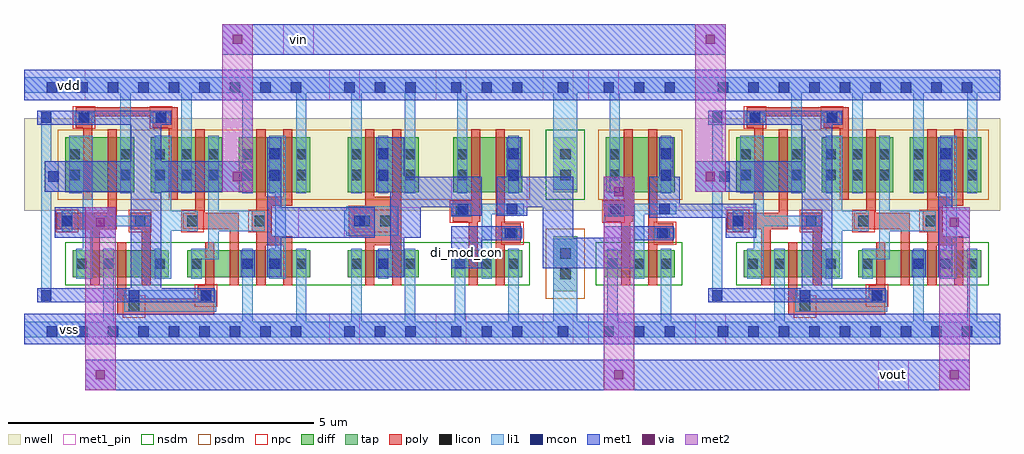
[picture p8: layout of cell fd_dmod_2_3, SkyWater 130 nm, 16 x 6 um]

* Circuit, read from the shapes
.subckt fd_dmod_2_3 di_mod_con vdd vin vout vss
XM1 vss vout sc_dff_4/sky130_fd_pr__nfet_01v8_sc_dff_m3_8/D vss sky130_fd_pr__nfet_01v8 w=0.45 l=0.15
XM2 sc_dff_4/sky130_fd_pr__nfet_01v8_sc_dff_m6_5/D vin vss vss sky130_fd_pr__nfet_01v8 w=0.45 l=0.15
XM3 sc_dff_4/sky130_fd_pr__nfet_01v8_sc_dff_m5_6/D sc_dff_4/sky130_fd_pr__nfet_01v8_sc_dff_m3_8/D sc_dff_4/sky130_fd_pr__nfet_01v8_sc_dff_m6_5/D vss sky130_fd_pr__nfet_01v8 w=0.45 l=0.15
XM4 sc_dff_4/sky130_fd_pr__nfet_01v8_sc_dff_m9_2/D vin sc_dff_4/sky130_fd_pr__nfet_01v8_sc_dff_m8_3/D vss sky130_fd_pr__nfet_01v8 w=0.45 l=0.15
XM5 vss sc_dff_4/sky130_fd_pr__nfet_01v8_sc_dff_m5_6/D sc_dff_4/sky130_fd_pr__nfet_01v8_sc_dff_m9_2/D vss sky130_fd_pr__nfet_01v8 w=0.45 l=0.15
XM6 sc_dff_4/q sc_dff_4/sky130_fd_pr__nfet_01v8_sc_dff_m8_3/D vss vss sky130_fd_pr__nfet_01v8 w=0.45 l=0.15 m=2
XM7 sc_nor2_2/a sc_dff_4/q vss vss sky130_fd_pr__nfet_01v8 w=0.45 l=0.15 m=2
XM8 sc_nor2_1/b sc_nor2_2/a vss vss sky130_fd_pr__nfet_01v8 w=0.45 l=0.15
XM9 vss di_mod_con sc_nor2_1/b vss sky130_fd_pr__nfet_01v8 w=0.45 l=0.15
XM10 sc_dff_0/d vout vss vss sky130_fd_pr__nfet_01v8 w=0.45 l=0.15
XM11 vss sc_nor2_1/b sc_dff_0/d vss sky130_fd_pr__nfet_01v8 w=0.45 l=0.15
XM12 vss sc_dff_0/d sc_dff_0/sky130_fd_pr__nfet_01v8_sc_dff_m3_8/D vss sky130_fd_pr__nfet_01v8 w=0.45 l=0.15
XM13 sc_dff_0/sky130_fd_pr__nfet_01v8_sc_dff_m6_5/D vin vss vss sky130_fd_pr__nfet_01v8 w=0.45 l=0.15
XM14 sc_dff_0/sky130_fd_pr__nfet_01v8_sc_dff_m5_6/D sc_dff_0/sky130_fd_pr__nfet_01v8_sc_dff_m3_8/D sc_dff_0/sky130_fd_pr__nfet_01v8_sc_dff_m6_5/D vss sky130_fd_pr__nfet_01v8 w=0.45 l=0.15
XM15 sc_dff_0/sky130_fd_pr__nfet_01v8_sc_dff_m9_2/D vin sc_dff_0/sky130_fd_pr__nfet_01v8_sc_dff_m8_3/D vss sky130_fd_pr__nfet_01v8 w=0.45 l=0.15
XM16 vss sc_dff_0/sky130_fd_pr__nfet_01v8_sc_dff_m5_6/D sc_dff_0/sky130_fd_pr__nfet_01v8_sc_dff_m9_2/D vss sky130_fd_pr__nfet_01v8 w=0.45 l=0.15
XM17 vout sc_dff_0/sky130_fd_pr__nfet_01v8_sc_dff_m8_3/D vss vss sky130_fd_pr__nfet_01v8 w=0.45 l=0.15 m=2
XM18 sc_dff_4/sky130_fd_pr__pfet_01v8_sc_dff_m1_10/D vin sc_dff_4/sky130_fd_pr__nfet_01v8_sc_dff_m3_8/D vdd sky130_fd_pr__pfet_01v8 w=0.9 l=0.15
XM19 vdd vout sc_dff_4/sky130_fd_pr__pfet_01v8_sc_dff_m1_10/D vdd sky130_fd_pr__pfet_01v8 w=0.9 l=0.15
XM20 vdd vin sc_dff_4/sky130_fd_pr__nfet_01v8_sc_dff_m5_6/D vdd sky130_fd_pr__pfet_01v8 w=0.9 l=0.15
XM21 sc_dff_4/sky130_fd_pr__nfet_01v8_sc_dff_m8_3/D sc_dff_4/sky130_fd_pr__nfet_01v8_sc_dff_m5_6/D vdd vdd sky130_fd_pr__pfet_01v8 w=0.9 l=0.15
XM22 sc_dff_4/q sc_dff_4/sky130_fd_pr__nfet_01v8_sc_dff_m8_3/D vdd vdd sky130_fd_pr__pfet_01v8 w=0.9 l=0.15 m=2
XM23 sc_nor2_2/a sc_dff_4/q vdd vdd sky130_fd_pr__pfet_01v8 w=0.9 l=0.15 m=2
XM24 sc_nor2_2/sky130_fd_pr__pfet_01v8_sc_nor2_m1_3/D sc_nor2_2/a vdd vdd sky130_fd_pr__pfet_01v8 w=0.9 l=0.15
XM25 sc_nor2_1/b di_mod_con sc_nor2_2/sky130_fd_pr__pfet_01v8_sc_nor2_m1_3/D vdd sky130_fd_pr__pfet_01v8 w=0.9 l=0.15
XM26 sc_nor2_1/sky130_fd_pr__pfet_01v8_sc_nor2_m1_3/D vout vdd vdd sky130_fd_pr__pfet_01v8 w=0.9 l=0.15
XM27 sc_dff_0/d sc_nor2_1/b sc_nor2_1/sky130_fd_pr__pfet_01v8_sc_nor2_m1_3/D vdd sky130_fd_pr__pfet_01v8 w=0.9 l=0.15
XM28 sc_dff_0/sky130_fd_pr__pfet_01v8_sc_dff_m1_10/D vin sc_dff_0/sky130_fd_pr__nfet_01v8_sc_dff_m3_8/D vdd sky130_fd_pr__pfet_01v8 w=0.9 l=0.15
XM29 vdd sc_dff_0/d sc_dff_0/sky130_fd_pr__pfet_01v8_sc_dff_m1_10/D vdd sky130_fd_pr__pfet_01v8 w=0.9 l=0.15
XM30 vdd vin sc_dff_0/sky130_fd_pr__nfet_01v8_sc_dff_m5_6/D vdd sky130_fd_pr__pfet_01v8 w=0.9 l=0.15
XM31 sc_dff_0/sky130_fd_pr__nfet_01v8_sc_dff_m8_3/D sc_dff_0/sky130_fd_pr__nfet_01v8_sc_dff_m5_6/D vdd vdd sky130_fd_pr__pfet_01v8 w=0.9 l=0.15
XM32 vout sc_dff_0/sky130_fd_pr__nfet_01v8_sc_dff_m8_3/D vdd vdd sky130_fd_pr__pfet_01v8 w=0.9 l=0.15 m=2
.ends

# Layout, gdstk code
from math import pi, radians
import gdstk
lib = gdstk.Library(unit=1e-6, precision=1e-09)
def R(c, l, rs):  # rectangles x0, y0, x1, y1
    for r in rs: c.add(gdstk.rectangle(r[:2], r[2:], *l))
def A(c, l, x, y, w, h, nx, ny, dx, dy):  # array of equal rectangles
    R(c, l, [(x+i*dx, y+j*dy, x+i*dx+w, y+j*dy+h) for i in range(nx) for j in range(ny)])
nwell = (64, 20)
diff = (65, 20)
tap = (65, 44)
poly = (66, 20)
licon = (66, 44)
li1 = (67, 20)
mcon = (67, 44)
met1_pin = (68, 16)
met1 = (68, 20)
via = (68, 44)
met2 = (69, 20)
nsdm = (93, 44)
psdm = (94, 20)
npc = (95, 20)

sky130_fd_pr__nfet_01v8_ = lib.new_cell('sky130_fd_pr__nfet_01v8_scc_inv_m2')
R(sky130_fd_pr__nfet_01v8_, diff, [(7.265,-4.22,8.435,-3.77)])
R(sky130_fd_pr__nfet_01v8_, poly, [(7.555,-4.35,7.705,-3.695), (7.995,-4.35,8.145,-3.695), (7.555,-3.695,8.145,-3.545)])
A(sky130_fd_pr__nfet_01v8_, licon, 7.325, -4.08, 0.17, 0.17, 3, 1, 0.44, 0)
A(sky130_fd_pr__nfet_01v8_, li1, 7.325, -4.24, 0.17, 0.49, 3, 1, 0.44, 0)
R(sky130_fd_pr__nfet_01v8_, mcon, [(7.765,-4.08,7.935,-3.91)])
R(sky130_fd_pr__nfet_01v8_, met1, [(7.735,-4.22,7.965,-3.77)])
R(sky130_fd_pr__nfet_01v8_, nsdm, [(7.14,-4.345,8.56,-3.645)])
sky130_fd_pr__nfet_01v8_.add(gdstk.Label('D0', (7.85,-3.995), layer=67, texttype=5))
sky130_fd_pr__nfet_01v8_.add(gdstk.Label('S0', (7.41,-3.995), layer=67, texttype=5))
sky130_fd_pr__nfet_01v8_.add(gdstk.Label('D1', (7.85,-3.995), layer=67, texttype=5))
sky130_fd_pr__nfet_01v8_.add(gdstk.Label('S1', (8.29,-3.995), layer=67, texttype=5))

sky130_fd_pr__pfet_01v8_ = lib.new_cell('sky130_fd_pr__pfet_01v8_scc_inv_m1')
R(sky130_fd_pr__pfet_01v8_, nwell, [(6.85,-4.65,8.38,-3.13)])
R(sky130_fd_pr__pfet_01v8_, diff, [(7.03,-4.34,8.2,-3.44)])
R(sky130_fd_pr__pfet_01v8_, poly, [(7.32,-4.565,7.91,-4.415), (7.32,-4.415,7.47,-3.31), (7.76,-4.415,7.91,-3.31)])
A(sky130_fd_pr__pfet_01v8_, licon, 7.09, -4.145, 0.17, 0.17, 3, 2, 0.44, 0.34)
A(sky130_fd_pr__pfet_01v8_, li1, 7.09, -4.36, 0.17, 0.94, 3, 1, 0.44, 0)
R(sky130_fd_pr__pfet_01v8_, mcon, [(7.53,-4.155,7.7,-3.985), (7.53,-3.795,7.7,-3.625)])
R(sky130_fd_pr__pfet_01v8_, met1, [(7.5,-4.34,7.73,-3.44)])
R(sky130_fd_pr__pfet_01v8_, psdm, [(6.905,-4.465,8.325,-3.315)])
sky130_fd_pr__pfet_01v8_.add(gdstk.Label('D0', (7.615,-3.89), layer=67, texttype=5))
sky130_fd_pr__pfet_01v8_.add(gdstk.Label('S0', (7.175,-3.89), layer=67, texttype=5))
sky130_fd_pr__pfet_01v8_.add(gdstk.Label('D1', (7.615,-3.89), layer=67, texttype=5))
sky130_fd_pr__pfet_01v8_.add(gdstk.Label('S1', (8.055,-3.89), layer=67, texttype=5))

c_sky130_fd_pr__nfet_01v8_ = lib.new_cell('sky130_fd_pr__nfet_01v8_sc_dff_m9')
R(c_sky130_fd_pr__nfet_01v8_, diff, [(-0.325,-0.225,0.365,0.225)])
R(c_sky130_fd_pr__nfet_01v8_, poly, [(-0.075,-0.355,0.075,0.355)])
R(c_sky130_fd_pr__nfet_01v8_, licon, [(0.135,-0.085,0.305,0.085)])
R(c_sky130_fd_pr__nfet_01v8_, li1, [(0.135,-0.245,0.305,0.245)])
R(c_sky130_fd_pr__nfet_01v8_, mcon, [(0.135,-0.085,0.305,0.085)])
R(c_sky130_fd_pr__nfet_01v8_, met1, [(0.105,-0.225,0.335,0.225)])
R(c_sky130_fd_pr__nfet_01v8_, nsdm, [(-0.45,-0.35,0.49,0.35)])
c_sky130_fd_pr__nfet_01v8_.add(gdstk.Label('D', (-0.22,0), layer=65, texttype=6))
c_sky130_fd_pr__nfet_01v8_.add(gdstk.Label('S', (0.22,0), layer=67, texttype=5))

c_sky130_fd_pr__nfet_01v8__ = lib.new_cell('sky130_fd_pr__nfet_01v8_sc_dff_m8')
R(c_sky130_fd_pr__nfet_01v8__, diff, [(-0.365,-0.225,0.325,0.225)])
R(c_sky130_fd_pr__nfet_01v8__, poly, [(-0.075,-0.355,0.075,0.355)])
R(c_sky130_fd_pr__nfet_01v8__, licon, [(-0.305,-0.085,-0.135,0.085)])
R(c_sky130_fd_pr__nfet_01v8__, li1, [(-0.305,-0.245,-0.135,0.245)])
R(c_sky130_fd_pr__nfet_01v8__, nsdm, [(-0.49,-0.35,0.45,0.35)])
c_sky130_fd_pr__nfet_01v8__.add(gdstk.Label('D', (-0.22,0), layer=67, texttype=5))
c_sky130_fd_pr__nfet_01v8__.add(gdstk.Label('S', (0.22,0), layer=65, texttype=6))

c_sky130_fd_pr__pfet_01v8_ = lib.new_cell('sky130_fd_pr__pfet_01v8_sc_dff_m7')
R(c_sky130_fd_pr__pfet_01v8_, nwell, [(-0.545,-0.76,0.545,0.76)])
R(c_sky130_fd_pr__pfet_01v8_, diff, [(-0.365,-0.45,0.365,0.45)])
R(c_sky130_fd_pr__pfet_01v8_, poly, [(-0.075,-0.58,0.075,0.58)])
R(c_sky130_fd_pr__pfet_01v8_, licon, [(-0.305,-0.255,-0.135,-0.085), (0.135,-0.255,0.305,-0.085), (-0.305,0.085,-0.135,0.255), (0.135,0.085,0.305,0.255)])
R(c_sky130_fd_pr__pfet_01v8_, li1, [(-0.305,-0.47,-0.135,0.47), (0.135,-0.47,0.305,0.47)])
R(c_sky130_fd_pr__pfet_01v8_, psdm, [(-0.49,-0.575,0.49,0.575)])
c_sky130_fd_pr__pfet_01v8_.add(gdstk.Label('D', (-0.22,0), layer=67, texttype=5))
c_sky130_fd_pr__pfet_01v8_.add(gdstk.Label('S', (0.22,0), layer=67, texttype=5))

c_sky130_fd_pr__nfet_01v8___ = lib.new_cell('sky130_fd_pr__nfet_01v8_sc_dff_m6')
R(c_sky130_fd_pr__nfet_01v8___, diff, [(-0.325,-0.225,0.365,0.225)])
R(c_sky130_fd_pr__nfet_01v8___, poly, [(-0.075,-0.355,0.075,0.355)])
R(c_sky130_fd_pr__nfet_01v8___, licon, [(0.135,-0.085,0.305,0.085)])
R(c_sky130_fd_pr__nfet_01v8___, li1, [(0.135,-0.245,0.305,0.245)])
R(c_sky130_fd_pr__nfet_01v8___, nsdm, [(-0.45,-0.35,0.49,0.35)])
c_sky130_fd_pr__nfet_01v8___.add(gdstk.Label('D', (-0.22,0), layer=65, texttype=6))
c_sky130_fd_pr__nfet_01v8___.add(gdstk.Label('S', (0.22,0), layer=67, texttype=5))

c_sky130_fd_pr__nfet_01v8____ = lib.new_cell('sky130_fd_pr__nfet_01v8_sc_dff_m5')
R(c_sky130_fd_pr__nfet_01v8____, diff, [(-0.365,-0.225,0.325,0.225)])
R(c_sky130_fd_pr__nfet_01v8____, poly, [(-0.075,-0.355,0.075,0.355)])
R(c_sky130_fd_pr__nfet_01v8____, licon, [(-0.305,-0.085,-0.135,0.085)])
R(c_sky130_fd_pr__nfet_01v8____, li1, [(-0.305,-0.245,-0.135,0.245)])
R(c_sky130_fd_pr__nfet_01v8____, nsdm, [(-0.49,-0.35,0.45,0.35)])
c_sky130_fd_pr__nfet_01v8____.add(gdstk.Label('D', (-0.22,0), layer=67, texttype=5))
c_sky130_fd_pr__nfet_01v8____.add(gdstk.Label('S', (0.22,0), layer=65, texttype=6))

c_sky130_fd_pr__pfet_01v8__ = lib.new_cell('sky130_fd_pr__pfet_01v8_sc_dff_m4')
R(c_sky130_fd_pr__pfet_01v8__, nwell, [(-0.545,-0.76,0.545,0.76)])
R(c_sky130_fd_pr__pfet_01v8__, diff, [(-0.365,-0.45,0.365,0.45)])
R(c_sky130_fd_pr__pfet_01v8__, poly, [(-0.075,-0.58,0.075,0.58)])
R(c_sky130_fd_pr__pfet_01v8__, licon, [(-0.305,-0.255,-0.135,-0.085), (0.135,-0.255,0.305,-0.085), (-0.305,0.085,-0.135,0.255), (0.135,0.085,0.305,0.255)])
R(c_sky130_fd_pr__pfet_01v8__, li1, [(-0.305,-0.47,-0.135,0.47), (0.135,-0.47,0.305,0.47)])
R(c_sky130_fd_pr__pfet_01v8__, psdm, [(-0.49,-0.575,0.49,0.575)])
c_sky130_fd_pr__pfet_01v8__.add(gdstk.Label('D', (-0.22,0), layer=67, texttype=5))
c_sky130_fd_pr__pfet_01v8__.add(gdstk.Label('S', (0.22,0), layer=67, texttype=5))

c_sky130_fd_pr__nfet_01v8_____ = lib.new_cell('sky130_fd_pr__nfet_01v8_sc_dff_m3')
R(c_sky130_fd_pr__nfet_01v8_____, diff, [(4.75,-7.11,5.48,-6.66)])
R(c_sky130_fd_pr__nfet_01v8_____, poly, [(5.04,-7.24,5.19,-6.53)])
R(c_sky130_fd_pr__nfet_01v8_____, licon, [(4.81,-6.97,4.98,-6.8), (5.25,-6.97,5.42,-6.8)])
R(c_sky130_fd_pr__nfet_01v8_____, li1, [(4.81,-7.13,4.98,-6.64), (5.25,-7.13,5.42,-6.64)])
R(c_sky130_fd_pr__nfet_01v8_____, nsdm, [(4.625,-7.235,5.605,-6.535)])
c_sky130_fd_pr__nfet_01v8_____.add(gdstk.Label('D', (4.895,-6.885), layer=67, texttype=5))
c_sky130_fd_pr__nfet_01v8_____.add(gdstk.Label('S', (5.335,-6.885), layer=67, texttype=5))

c_sky130_fd_pr__pfet_01v8___ = lib.new_cell('sky130_fd_pr__pfet_01v8_sc_dff_m2')
R(c_sky130_fd_pr__pfet_01v8___, nwell, [(-0.545,-0.76,0.505,0.76)])
R(c_sky130_fd_pr__pfet_01v8___, diff, [(-0.365,-0.45,0.325,0.45)])
R(c_sky130_fd_pr__pfet_01v8___, poly, [(-0.075,-0.58,0.075,0.58)])
R(c_sky130_fd_pr__pfet_01v8___, licon, [(-0.305,-0.255,-0.135,-0.085), (-0.305,0.085,-0.135,0.255)])
R(c_sky130_fd_pr__pfet_01v8___, li1, [(-0.305,-0.47,-0.135,0.47)])
R(c_sky130_fd_pr__pfet_01v8___, psdm, [(-0.49,-0.575,0.45,0.575)])
c_sky130_fd_pr__pfet_01v8___.add(gdstk.Label('D', (-0.22,0), layer=67, texttype=5))
c_sky130_fd_pr__pfet_01v8___.add(gdstk.Label('S', (0.22,0), layer=65, texttype=6))

c_sky130_fd_pr__pfet_01v8____ = lib.new_cell('sky130_fd_pr__pfet_01v8_sc_dff_m1')
R(c_sky130_fd_pr__pfet_01v8____, nwell, [(-0.545,-0.76,0.545,0.76)])
R(c_sky130_fd_pr__pfet_01v8____, diff, [(-0.325,-0.45,0.365,0.45)])
R(c_sky130_fd_pr__pfet_01v8____, poly, [(-0.075,-0.58,0.075,0.58)])
R(c_sky130_fd_pr__pfet_01v8____, licon, [(0.135,-0.255,0.305,-0.085), (0.135,0.085,0.305,0.255)])
R(c_sky130_fd_pr__pfet_01v8____, li1, [(0.135,-0.47,0.305,0.47)])
R(c_sky130_fd_pr__pfet_01v8____, psdm, [(-0.45,-0.575,0.49,0.575)])
c_sky130_fd_pr__pfet_01v8____.add(gdstk.Label('D', (-0.22,0), layer=65, texttype=6))
c_sky130_fd_pr__pfet_01v8____.add(gdstk.Label('S', (0.22,0), layer=67, texttype=5))

sc_dff = lib.new_cell('sc_dff')
R(sc_dff, nwell, [(2.25,-6.815,7.25,-5.295)])
R(sc_dff, poly, [(3.78,-8.515,5.37,-8.245), (3.78,-8.245,3.93,-8.035), (5.1,-8.245,5.37,-8.035), (3.34,-7.325,3.49,-7.115), (4.18,-7.325,4.33,-7.115), (5.62,-7.325,5.77,-7.115), (6.06,-7.23,6.31,-7.145), (5.98,-7.145,6.31,-6.815), (2.79,-7.115,3.77,-6.845), (3.99,-7.115,4.33,-6.845), (4.85,-7.115,5.77,-6.845), (3.62,-6.845,3.77,-6.635), (5.06,-6.845,5.21,-6.635), (6.06,-6.815,6.31,-6.73), (4.62,-5.495,4.77,-5.45), (3.22,-5.475,3.37,-5.45), (3.1,-5.45,3.37,-5.265), (4.36,-5.45,4.77,-5.265), (3.1,-5.265,4.77,-5.115)])
R(sc_dff, licon, [(3.97,-8.465,4.14,-8.295), (5.15,-8.285,5.32,-8.115), (2.87,-7.065,3.04,-6.895), (4.07,-7.065,4.24,-6.895), (4.93,-7.065,5.1,-6.895), (6.03,-7.065,6.2,-6.895), (3.15,-5.37,3.32,-5.2), (4.41,-5.37,4.58,-5.2)])
A(sc_dff, li1, 3.83, -5.585, 0.17, 0.71, 3, 1, 1, 0)
R(sc_dff, li1, [(2.25,-8.885,7.25,-8.635), (3.55,-8.635,3.72,-7.925), (5.83,-8.635,6,-7.925), (6.71,-8.635,6.88,-7.925), (3.89,-8.465,5.4,-8.115), (2.53,-8.315,2.7,-6.5), (3.21,-7.925,3.38,-7.065), (4.49,-7.925,4.66,-7.14), (6.37,-7.925,6.54,-5.585), (5.16,-7.605,5.44,-7.435), (5.27,-7.435,5.44,-7.145), (2.87,-7.145,3.04,-6.815), (4.93,-7.145,5.1,-7.14), (5.27,-7.145,6.2,-6.815), (4.49,-7.14,5.1,-6.815), (3.21,-7.065,4.32,-6.895), (3.21,-6.895,3.38,-6.525), (4.49,-6.815,4.66,-5.585), (5.27,-6.815,5.44,-6.525), (3.16,-6.525,3.38,-5.585), (2.53,-6.5,2.82,-6), (2.53,-6,2.7,-5.17), (6.71,-5.585,6.88,-4.875), (3.07,-5.37,3.4,-5.2), (4.33,-5.37,4.66,-5.2), (2.25,-4.875,7.25,-4.625)])
A(sc_dff, mcon, 2.625, -8.875, 0.17, 0.17, 9, 2, 0.5, 4)
R(sc_dff, mcon, [(2.53,-8.285,2.7,-8.115), (3.97,-8.285,4.14,-8.115), (5.15,-8.285,5.32,-8.115), (2.87,-7.065,3.04,-6.895), (2.65,-6.335,2.82,-6.165), (2.53,-5.37,2.7,-5.2), (3.15,-5.37,3.32,-5.2), (4.41,-5.37,4.58,-5.2)])
R(sc_dff, met1_pin, [(2.25,-9,2.75,-8.5), (2.75,-7.25,3.25,-6.75), (6.25,-7.25,6.75,-6.75), (2.75,-6.5,3.25,-6), (2.25,-5,2.75,-4.5)])
R(sc_dff, met1, [(2.25,-9,7.25,-8.5), (2.47,-8.315,5.38,-8.085), (6.24,-7.455,6.47,-7.25), (2.75,-7.25,3.25,-6.75), (6.24,-7.25,6.75,-6.75), (6.24,-6.75,6.47,-6.505), (2.59,-6.5,3.25,-6), (2.47,-5.4,4.66,-5.17), (2.25,-5,7.25,-4.5)])
R(sc_dff, nsdm, [(4.745,-8.03,4.805,-7.33)])
R(sc_dff, psdm, [(4.185,-6.63,4.205,-5.48), (5.625,-6.63,5.645,-5.48)])
R(sc_dff, npc, [(3.87,-8.565,4.24,-8.195), (5.05,-8.385,5.42,-8.015), (2.77,-7.165,3.14,-6.795), (3.97,-7.165,4.34,-6.795), (4.83,-7.165,5.2,-6.795), (5.93,-7.165,6.3,-6.795), (3.05,-5.47,3.42,-5.1), (4.31,-5.47,4.68,-5.1)])
sc_dff.add(gdstk.Reference(sky130_fd_pr__nfet_01v8_, (-1.495,-3.685)))
sc_dff.add(gdstk.Reference(sky130_fd_pr__pfet_01v8_, (-1.26,-2.165)))
sc_dff.add(gdstk.Reference(c_sky130_fd_pr__nfet_01v8_, (5.695,-7.68)))
sc_dff.add(gdstk.Reference(c_sky130_fd_pr__nfet_01v8__, (5.295,-7.68)))
sc_dff.add(gdstk.Reference(c_sky130_fd_pr__pfet_01v8_, (5.135,-6.055), rotation=pi))
sc_dff.add(gdstk.Reference(c_sky130_fd_pr__nfet_01v8___, (3.855,-7.68), rotation=pi))
sc_dff.add(gdstk.Reference(c_sky130_fd_pr__nfet_01v8____, (4.255,-7.68), rotation=pi))
sc_dff.add(gdstk.Reference(c_sky130_fd_pr__pfet_01v8__, (4.695,-6.055)))
sc_dff.add(gdstk.Reference(c_sky130_fd_pr__nfet_01v8_____, (-1.7,-0.795)))
sc_dff.add(gdstk.Reference(c_sky130_fd_pr__pfet_01v8___, (3.295,-6.055)))
sc_dff.add(gdstk.Reference(c_sky130_fd_pr__pfet_01v8____, (3.695,-6.055)))
sc_dff.add(gdstk.Label('vdd', (2.5,-4.75), layer=68, texttype=5))
sc_dff.add(gdstk.Label('vss', (2.5,-8.75), layer=68, texttype=5))
sc_dff.add(gdstk.Label('d', (3,-7), layer=68, texttype=5))
sc_dff.add(gdstk.Label('clk', (3,-6.25), layer=68, texttype=5))
sc_dff.add(gdstk.Label('q', (6.5,-7), layer=68, texttype=5))

c_sky130_fd_pr__nfet_01v8______ = lib.new_cell('sky130_fd_pr__nfet_01v8_sc_nor2_m4')
R(c_sky130_fd_pr__nfet_01v8______, diff, [(-0.365,-0.225,0.365,0.225)])
R(c_sky130_fd_pr__nfet_01v8______, poly, [(-0.075,-0.355,0.075,0.355)])
R(c_sky130_fd_pr__nfet_01v8______, licon, [(-0.305,-0.085,-0.135,0.085), (0.135,-0.085,0.305,0.085)])
R(c_sky130_fd_pr__nfet_01v8______, li1, [(-0.305,-0.245,-0.135,0.245), (0.135,-0.245,0.305,0.245)])
R(c_sky130_fd_pr__nfet_01v8______, nsdm, [(-0.49,-0.35,0.49,0.35)])
c_sky130_fd_pr__nfet_01v8______.add(gdstk.Label('D', (-0.22,0), layer=67, texttype=5))
c_sky130_fd_pr__nfet_01v8______.add(gdstk.Label('S', (0.22,0), layer=67, texttype=5))

c_sky130_fd_pr__nfet_01v8_______ = lib.new_cell('sky130_fd_pr__nfet_01v8_sc_nor2_m3')
R(c_sky130_fd_pr__nfet_01v8_______, diff, [(-0.365,-0.225,0.365,0.225)])
R(c_sky130_fd_pr__nfet_01v8_______, poly, [(-0.075,-0.355,0.075,0.355)])
R(c_sky130_fd_pr__nfet_01v8_______, licon, [(-0.305,-0.085,-0.135,0.085), (0.135,-0.085,0.305,0.085)])
R(c_sky130_fd_pr__nfet_01v8_______, li1, [(-0.305,-0.245,-0.135,0.245), (0.135,-0.245,0.305,0.245)])
R(c_sky130_fd_pr__nfet_01v8_______, nsdm, [(-0.49,-0.35,0.49,0.35)])
c_sky130_fd_pr__nfet_01v8_______.add(gdstk.Label('D', (-0.22,0), layer=67, texttype=5))
c_sky130_fd_pr__nfet_01v8_______.add(gdstk.Label('S', (0.22,0), layer=67, texttype=5))

c_sky130_fd_pr__pfet_01v8_____ = lib.new_cell('sky130_fd_pr__pfet_01v8_sc_nor2_m2')
R(c_sky130_fd_pr__pfet_01v8_____, nwell, [(-0.545,-0.76,0.505,0.76)])
R(c_sky130_fd_pr__pfet_01v8_____, diff, [(-0.365,-0.45,0.325,0.45)])
R(c_sky130_fd_pr__pfet_01v8_____, poly, [(-0.075,-0.58,0.075,0.58)])
R(c_sky130_fd_pr__pfet_01v8_____, licon, [(-0.305,-0.255,-0.135,-0.085), (-0.305,0.085,-0.135,0.255)])
R(c_sky130_fd_pr__pfet_01v8_____, li1, [(-0.305,-0.47,-0.135,0.47)])
R(c_sky130_fd_pr__pfet_01v8_____, mcon, [(-0.305,-0.265,-0.135,-0.095), (-0.305,0.095,-0.135,0.265)])
R(c_sky130_fd_pr__pfet_01v8_____, met1, [(-0.335,-0.45,-0.105,0.45)])
R(c_sky130_fd_pr__pfet_01v8_____, psdm, [(-0.49,-0.575,0.45,0.575)])
c_sky130_fd_pr__pfet_01v8_____.add(gdstk.Label('D', (-0.22,0), layer=67, texttype=5))
c_sky130_fd_pr__pfet_01v8_____.add(gdstk.Label('S', (0.22,0), layer=65, texttype=6))

c_sky130_fd_pr__pfet_01v8______ = lib.new_cell('sky130_fd_pr__pfet_01v8_sc_nor2_m1')
R(c_sky130_fd_pr__pfet_01v8______, nwell, [(-0.505,-0.76,0.545,0.76)])
R(c_sky130_fd_pr__pfet_01v8______, diff, [(-0.325,-0.45,0.365,0.45)])
R(c_sky130_fd_pr__pfet_01v8______, poly, [(-0.075,-0.58,0.075,0.58)])
R(c_sky130_fd_pr__pfet_01v8______, licon, [(0.135,-0.255,0.305,-0.085), (0.135,0.085,0.305,0.255)])
R(c_sky130_fd_pr__pfet_01v8______, li1, [(0.135,-0.47,0.305,0.47)])
R(c_sky130_fd_pr__pfet_01v8______, psdm, [(-0.45,-0.575,0.49,0.575)])
c_sky130_fd_pr__pfet_01v8______.add(gdstk.Label('D', (-0.22,0), layer=65, texttype=6))
c_sky130_fd_pr__pfet_01v8______.add(gdstk.Label('S', (0.22,0), layer=67, texttype=5))

sc_nor2 = lib.new_cell('sc_nor2')
R(sc_nor2, nwell, [(1.75,-5.815,3.5,-4.295)])
R(sc_nor2, poly, [(2.73,-6.345,3.14,-6.015), (2.29,-6.325,2.44,-5.99), (2.73,-6.015,2.88,-5.635), (2.03,-5.99,2.48,-5.635)])
R(sc_nor2, licon, [(2.92,-6.265,3.09,-6.095), (2.08,-5.91,2.25,-5.74)])
R(sc_nor2, li1, [(1.75,-7.885,3.5,-7.635), (2.06,-7.635,2.23,-6.925), (2.94,-7.635,3.11,-6.925), (2.5,-6.435,2.67,-5.865), (2.84,-6.265,3.17,-6.095), (2,-5.91,2.33,-5.695), (2.5,-5.865,3.19,-5.695), (2.1,-4.585,2.27,-3.875), (1.75,-3.875,3.5,-3.625)])
A(sc_nor2, mcon, 2, -7.875, 0.17, 0.17, 3, 2, 0.5, 4)
R(sc_nor2, mcon, [(2.88,-6.265,3.05,-6.095), (2.11,-5.865,2.28,-5.695), (2.915,-5.865,3.085,-5.695)])
R(sc_nor2, met1_pin, [(1.75,-8,2.25,-7.5), (2,-6.75,2.5,-6.25), (2,-5.75,2.5,-5.25), (2.75,-5.75,3.25,-5.25), (1.75,-4,2.25,-3.5)])
R(sc_nor2, met1, [(1.75,-8,3.5,-7.5), (2,-6.75,2.5,-6.295), (2,-6.295,3.15,-6.065), (2,-5.895,2.5,-5.25), (2.75,-5.895,3.25,-5.25), (1.75,-4,3.5,-3.5)])
R(sc_nor2, npc, [(2.82,-6.365,3.19,-5.995), (1.98,-6.01,2.35,-5.64)])
sc_nor2.add(gdstk.Reference(c_sky130_fd_pr__nfet_01v8______, (2.805,-6.68)))
sc_nor2.add(gdstk.Reference(c_sky130_fd_pr__nfet_01v8_______, (2.365,-6.68), rotation=pi))
sc_nor2.add(gdstk.Reference(c_sky130_fd_pr__pfet_01v8_____, (2.805,-5.055), rotation=pi))
sc_nor2.add(gdstk.Reference(c_sky130_fd_pr__pfet_01v8______, (2.405,-5.055), rotation=pi))
sc_nor2.add(gdstk.Label('vdd', (2,-3.75), layer=68, texttype=5))
sc_nor2.add(gdstk.Label('vss', (2,-7.75), layer=68, texttype=5))
sc_nor2.add(gdstk.Label('a', (2.25,-5.5), layer=68, texttype=5))
sc_nor2.add(gdstk.Label('b', (2.25,-6.5), layer=68, texttype=5))
sc_nor2.add(gdstk.Label('y', (3,-5.5), layer=68, texttype=5))

sc_not = lib.new_cell('sc_not')
R(sc_not, nwell, [(2.75,-3.815,4.5,-2.295)])
R(sc_not, poly, [(3.075,-4.23,3.935,-3.73)])
R(sc_not, licon, [(3.25,-4.065,3.42,-3.895), (3.59,-4.065,3.76,-3.895)])
R(sc_not, li1, [(2.75,-5.885,4.5,-5.635), (3.115,-5.635,3.285,-4.925), (3.995,-5.635,4.165,-4.925), (3.03,-4.225,3.885,-4.145), (3,-4.145,3.885,-3.815), (3.03,-3.815,3.885,-3.735), (3.115,-2.585,3.285,-1.875), (3.995,-2.585,4.165,-1.875), (2.75,-1.875,4.5,-1.625)])
A(sc_not, mcon, 3, -5.875, 0.17, 0.17, 3, 2, 0.5, 4)
R(sc_not, mcon, [(3.165,-4.065,3.335,-3.895)])
R(sc_not, met1_pin, [(2.75,-6,3.25,-5.5), (3,-4.25,3.5,-3.75), (3.75,-4.25,4.25,-3.75), (2.75,-2,3.25,-1.5)])
R(sc_not, met1, [(2.75,-6,4.5,-5.5), (3.75,-4.905,3.98,-4.25), (3,-4.25,3.5,-3.75), (3.75,-4.25,4.25,-3.75), (3.75,-3.75,3.98,-2.605), (2.75,-2,4.5,-1.5)])
R(sc_not, npc, [(3.15,-4.165,3.86,-3.795)])
sc_not.add(gdstk.Reference(sky130_fd_pr__pfet_01v8_, (-3.975,0.835)))
sc_not.add(gdstk.Reference(sky130_fd_pr__nfet_01v8_, (-4.21,-0.685)))
sc_not.add(gdstk.Label('vdd', (3,-1.75), layer=68, texttype=5))
sc_not.add(gdstk.Label('vss', (3,-5.75), layer=68, texttype=5))
sc_not.add(gdstk.Label('x', (3.25,-4), layer=68, texttype=5))
sc_not.add(gdstk.Label('y', (4,-4), layer=68, texttype=5))

sc_body_conn = lib.new_cell('sc_body_conn')
R(sc_body_conn, nwell, [(-0.75,2.185,0,3.705)])
R(sc_body_conn, tap, [(-0.57,0.87,-0.18,1.77), (-0.57,2.495,-0.18,3.395)])
R(sc_body_conn, licon, [(-0.46,1.065,-0.29,1.235), (-0.46,1.405,-0.29,1.575), (-0.46,2.69,-0.29,2.86), (-0.46,3.03,-0.29,3.2)])
R(sc_body_conn, li1, [(-0.75,0.115,0,0.365), (-0.57,0.365,-0.18,1.73), (-0.57,2.535,-0.18,4.125), (-0.75,4.125,0,4.375)])
R(sc_body_conn, mcon, [(-0.5,0.125,-0.33,0.295), (-0.5,4.125,-0.33,4.295)])
R(sc_body_conn, met1_pin, [(-0.75,0,-0.25,0.5), (-0.75,4,-0.25,4.5)])
R(sc_body_conn, met1, [(-0.75,0,0,0.5), (-0.75,4,0,4.5)])
R(sc_body_conn, nsdm, [(-0.695,2.37,-0.055,3.52)])
R(sc_body_conn, psdm, [(-0.695,0.745,-0.055,1.895)])
sc_body_conn.add(gdstk.Label('vdd', (-0.5,4.25), layer=68, texttype=5))
sc_body_conn.add(gdstk.Label('vss', (-0.5,0.25), layer=68, texttype=5))

fd_dmod_2_3 = lib.new_cell('fd_dmod_2_3')
R(fd_dmod_2_3, met1_pin, [(15.5,-8.75,16,-8.25), (2,-8,2.5,-7.5), (8.5,-6.75,9,-6.25), (2,-4,2.5,-3.5), (5.75,-3.25,6.25,-2.75)])
R(fd_dmod_2_3, met1, [(2.5,-8.75,17,-8.25), (2,-8,2.5,-7.5), (3.25,-7.25,3.75,-5.5), (14.25,-7.25,14.75,-5.5), (8.5,-6.75,9,-6.25), (10,-6.75,11,-6.25), (2,-6.25,3,-5.75), (6,-6.25,6.75,-5.75), (10,-6.25,10.5,-5.75), (16.5,-6.25,17,-5.75), (11.75,-5.925,13.5,-5.695), (7.5,-5.75,8.5,-5.25), (9.75,-5.75,10.5,-5.25), (11,-5.75,11.5,-5.25), (2.5,-5.5,5.25,-5), (12.5,-5.5,14.75,-5), (3.25,-5,3.75,-4.25), (14.25,-5,14.75,-4.25), (2,-4,2.5,-3.5), (4.75,-3.25,13,-2.75)])
R(fd_dmod_2_3, via, [(2.675,-8.575,2.825,-8.425), (11.175,-8.575,11.325,-8.425), (16.675,-8.575,16.825,-8.425), (2.675,-6.075,2.825,-5.925), (16.675,-6.075,16.825,-5.925), (11.175,-5.575,11.325,-5.425), (4.925,-5.325,5.075,-5.175), (12.675,-5.325,12.825,-5.175), (4.925,-3.075,5.075,-2.925), (12.675,-3.075,12.825,-2.925)])
R(fd_dmod_2_3, met2, [(2.5,-8.75,3,-5.75), (11,-8.75,11.5,-5.25), (16.5,-8.75,17,-5.75), (4.75,-5.5,5.25,-2.75), (12.5,-5.5,13,-2.75)])
R(fd_dmod_2_3, nsdm, [(6.315,-7.03,6.68,-6.33), (8.1,-7.03,8.375,-6.33)])
R(fd_dmod_2_3, psdm, [(6.315,-5.63,6.68,-4.48), (8.1,-5.63,8.415,-4.48)])
fd_dmod_2_3.add(gdstk.Reference(sc_dff, (10.25,1)))
fd_dmod_2_3.add(gdstk.Reference(sc_nor2, (9,0)))
fd_dmod_2_3.add(gdstk.Reference(sc_nor2, (6.5,0)))
fd_dmod_2_3.add(gdstk.Reference(sc_not, (3.75,-2)))
fd_dmod_2_3.add(gdstk.Reference(sc_dff, (-0.75,1)))
fd_dmod_2_3.add(gdstk.Reference(sc_body_conn, (10.75,-8)))
fd_dmod_2_3.add(gdstk.Label('vdd', (2.25,-3.75), layer=68, texttype=5))
fd_dmod_2_3.add(gdstk.Label('vss', (2.25,-7.75), layer=68, texttype=5))
fd_dmod_2_3.add(gdstk.Label('vin', (6,-3), layer=68, texttype=5))
fd_dmod_2_3.add(gdstk.Label('di_mod_con', (8.75,-6.5), layer=68, texttype=5))
fd_dmod_2_3.add(gdstk.Label('vout', (15.75,-8.5), layer=68, texttype=5))

lib.write_gds('fd_dmod_2_3.gds')
